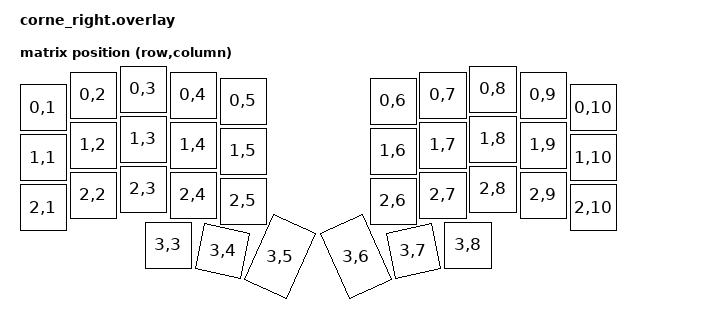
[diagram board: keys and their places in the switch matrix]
#include <dt-bindings/zmk/matrix_transform.h>
#include <physical_layouts.dtsi>

/*
 * Use Corne's 5-column physical layout for Miryoku on 3x6 Corne PCBs.
 *
 * The physical PCB still has 6 columns per half, but Miryoku uses the inner
 * 5 columns plus 3 thumbs. Selecting the 5col layout drops the outside columns
 * in the scan-to-keymap position map so the second physical column starts at Q.
 *
 * This can't reuse ZMK's own &foostan_corne_5col_layout / &five_column_transform
 * by overriding them with "&label { ... };" syntax: this user config overlay is
 * merged before the upstream shield overlay that defines those labels, so they
 * don't exist yet at merge time ("undefined node label"). Phandle *values* (like
 * the chosen below pointed at our own label) resolve fine since those are linked
 * in a later pass, but "&label { ... };" node amendments need the label to exist
 * at that point in the merge order -- so the fixed layout/transform here are
 * defined as brand new local nodes (copy of the upstream 5col geometry) instead
 * of patches to the upstream ones.
 *
 * Stock five_column_transform also uses columns = 10 with col-offset = 6 for
 * this half. The dropped outer column (raw col 5) then lands at logical
 * column 11, but row * 10 + 11 overflows into the next row's index range
 * (row1's RC(1,1) and row2's RC(2,1)), ghost-pressing "a"/"z" instead of doing
 * nothing. Widening columns to 12 gives the dropped column room to land
 * outside any row's valid range.
 */
/ {
    chosen {
        zmk,physical-layout = &corne_5col_fixed_layout;
    };

    corne_5col_fixed_transform: corne_5col_fixed_transform {
        compatible = "zmk,matrix-transform";
        columns = <12>;
        rows = <4>;
        col-offset = <6>;
        map = <
RC(0,1) RC(0,2) RC(0,3) RC(0,4) RC(0,5)  RC(0,6) RC(0,7) RC(0,8) RC(0,9) RC(0,10)
RC(1,1) RC(1,2) RC(1,3) RC(1,4) RC(1,5)  RC(1,6) RC(1,7) RC(1,8) RC(1,9) RC(1,10)
RC(2,1) RC(2,2) RC(2,3) RC(2,4) RC(2,5)  RC(2,6) RC(2,7) RC(2,8) RC(2,9) RC(2,10)
                        RC(3,3) RC(3,4) RC(3,5)  RC(3,6) RC(3,7) RC(3,8)
        >;
    };

    corne_5col_fixed_layout: corne_5col_fixed_layout {
        compatible = "zmk,physical-layout";
        display-name = "5 Column Fixed";
        transform = <&corne_5col_fixed_transform>;

        keys  //                     w   h    x    y     rot    rx    ry
            = <&key_physical_attrs 100 100    0   37       0     0     0>
            , <&key_physical_attrs 100 100  100   12       0     0     0>
            , <&key_physical_attrs 100 100  200    0       0     0     0>
            , <&key_physical_attrs 100 100  300   12       0     0     0>
            , <&key_physical_attrs 100 100  400   24       0     0     0>
            , <&key_physical_attrs 100 100  700   24       0     0     0>
            , <&key_physical_attrs 100 100  800   12       0     0     0>
            , <&key_physical_attrs 100 100  900    0       0     0     0>
            , <&key_physical_attrs 100 100 1000   12       0     0     0>
            , <&key_physical_attrs 100 100 1100   37       0     0     0>
            , <&key_physical_attrs 100 100    0  137       0     0     0>
            , <&key_physical_attrs 100 100  100  112       0     0     0>
            , <&key_physical_attrs 100 100  200  100       0     0     0>
            , <&key_physical_attrs 100 100  300  112       0     0     0>
            , <&key_physical_attrs 100 100  400  124       0     0     0>
            , <&key_physical_attrs 100 100  700  124       0     0     0>
            , <&key_physical_attrs 100 100  800  112       0     0     0>
            , <&key_physical_attrs 100 100  900  100       0     0     0>
            , <&key_physical_attrs 100 100 1000  112       0     0     0>
            , <&key_physical_attrs 100 100 1100  137       0     0     0>
            , <&key_physical_attrs 100 100    0  237       0     0     0>
            , <&key_physical_attrs 100 100  100  212       0     0     0>
            , <&key_physical_attrs 100 100  200  200       0     0     0>
            , <&key_physical_attrs 100 100  300  212       0     0     0>
            , <&key_physical_attrs 100 100  400  224       0     0     0>
            , <&key_physical_attrs 100 100  700  224       0     0     0>
            , <&key_physical_attrs 100 100  800  212       0     0     0>
            , <&key_physical_attrs 100 100  900  200       0     0     0>
            , <&key_physical_attrs 100 100 1000  212       0     0     0>
            , <&key_physical_attrs 100 100 1100  237       0     0     0>
            , <&key_physical_attrs 100 100  250  312       0     0     0>
            , <&key_physical_attrs 100 100  350  312    1200   350   412>
            , <&key_physical_attrs 100 150  448  283    2400   448   433>
            , <&key_physical_attrs 100 150  652  283  (-2400)  752   433>
            , <&key_physical_attrs 100 100  750  312  (-1200)  850   412>
            , <&key_physical_attrs 100 100  850  312       0     0     0>
        ;
    };
};
